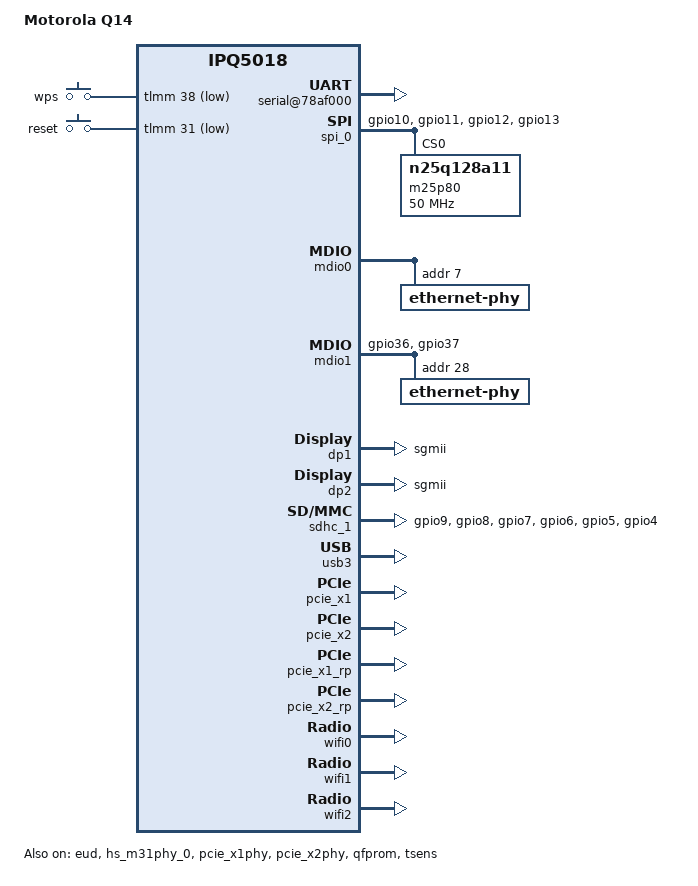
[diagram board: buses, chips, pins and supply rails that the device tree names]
/dts-v1/;
/* Copyright (c) 2018-2020, The Linux Foundation. All rights reserved.
 *
 * Permission to use, copy, modify, and/or distribute this software for any
 * purpose with or without fee is hereby granted, provided that the above
 * copyright notice and this permission notice appear in all copies.
 *
 * THE SOFTWARE IS PROVIDED "AS IS" AND THE AUTHOR DISCLAIMS ALL WARRANTIES
 * WITH REGARD TO THIS SOFTWARE INCLUDING ALL IMPLIED WARRANTIES OF
 * MERCHANTABILITY AND FITNESS. IN NO EVENT SHALL THE AUTHOR BE LIABLE FOR
 * ANY SPECIAL, DIRECT, INDIRECT, OR CONSEQUENTIAL DAMAGES OR ANY DAMAGES
 * WHATSOEVER RESULTING FROM LOSS OF USE, DATA OR PROFITS, WHETHER IN AN
 * ACTION OF CONTRACT, NEGLIGENCE OR OTHER TORTIOUS ACTION, ARISING OUT OF
 * OR IN CONNECTION WITH THE USE OR PERFORMANCE OF THIS SOFTWARE.
 */

#include "qcom-ipq5018.dtsi"

/ {
	#address-cells = <0x2>;
	#size-cells = <0x2>;
	model = "Motorola Q14";
	compatible = "motorola,q14", "qcom,ipq5018-mp03.5-c1", "qcom,ipq5018";
	interrupt-parent = <&intc>;

	aliases {
		sdhc1 = &sdhc_1; /* SDC1 eMMC slot */
		serial0 = &blsp1_uart1;
		serial1 = &blsp1_uart2;
		ethernet0 = "/soc/dp1";
		ethernet1 = "/soc/dp2";
	};

	chosen {
		bootargs = "console=ttyMSM0,115200,n8 rw init=/init";
	#ifdef __IPQ_MEM_PROFILE_256_MB__
		bootargs-append = " swiotlb=1";
	#else
		bootargs-append = " swiotlb=1 coherent_pool=2M";
	#endif
		stdout-path = "serial0";
	};

	reserved-memory {
	#ifdef __IPQ_MEM_PROFILE_256_MB__
	/*                   256 MB Profile
	 * +==========+==============+=========================+
	 * |          |              |                         |
	 * |  Region  | Start Offset |          Size           |
	 * |          |              |                         |
	 * +----------+--------------+-------------------------+
	 * |    NSS   |  0x40000000  |           8MB           |
	 * +----------+--------------+-------------------------+
	 * |   Linux  |  0x40800000  | Depends on total memory |
	 * +----------+--------------+-------------------------+
	 * |   uboot  |  0x4A600000  |           4MB           |
	 * +----------+--------------+-------------------------+
	 * |    SBL   |  0x4AA00000  |           1MB           |
	 * +----------+--------------+-------------------------+
	 * |   smem   |  0x4AB00000  |           1MB           |
	 * +----------+--------------+-------------------------+
	 * |    TZ    |  0x4AC00000  |           4MB           |
	 * +----------+--------------+-------------------------+
	 * |    Q6    |              |                         |
	 * |   code/  |  0x4B000000  |          20MB           |
	 * |   data   |              |                         |
	 * +----------+--------------+-------------------------+
	 * |  IPQ5018 |              |                         |
	 * |   data   |  0x4C400000  |          13MB           |
	 * +----------+--------------+-------------------------+
	 * |  IPQ5018 |              |                         |
	 * |  M3 Dump |  0x4D100000  |           1MB           |
	 * +----------+--------------+-------------------------+
	 * |  IPQ5018 |              |                         |
	 * |   QDSS   |  0x4D200000  |           1MB           |
	 * +----------+--------------+-------------------------+
	 * | QCN6122_1|              |                         |
	 * |   data   |  0x4D300000  |          15MB           |
	 * +----------+--------------+-------------------------+
	 * | QCN6122_1|              |                         |
	 * |  M3 Dump |  0x4E200000  |           1MB           |
	 * +----------+--------------+-------------------------+
	 * | QCN6122_1|              |                         |
	 * |   QDSS   |  0x4E300000  |           1MB           |
	 * +----------+--------------+-------------------------+
	 * | QCN6122_2|              |                         |
	 * |   data   |  0x4E400000  |          15MB           |
	 * +----------+--------------+-------------------------+
	 * | QCN6122_2|              |                         |
	 * |  M3 Dump |  0x4F300000  |           1MB           |
	 * +----------+--------------+-------------------------+
	 * | QCN6122_2|              |                         |
	 * |   QDSS   |  0x4F400000  |           1MB           |
	 * +----------+--------------+-------------------------+
	 * |                                                   |
	 * |            Rest of the memory for Linux           |
	 * |                                                   |
	 * +===================================================+
	 */
		q6_mem_regions: q6_mem_regions@4B000000 {
			no-map;
			reg = <0x0 0x4B000000 0x0 0x4500000>;
		};

		q6_code_data: q6_code_data@4B000000 {
			no-map;
			reg = <0x0 0x4B000000 0x0 0x1400000>;
		};

		q6_ipq5018_data: q6_ipq5018_data@4C400000 {
			no-map;
			reg = <0x0 0x4C400000 0x0 0xD00000>;
		};

		m3_dump: m3_dump@4D100000 {
			no-map;
			reg = <0x0 0x4D100000 0x0 0x100000>;
		};

		q6_etr_region: q6_etr_dump@4D200000 {
			no-map;
			reg = <0x0 0x4D200000 0x0 0x100000>;
		};

		q6_qcn6122_data1: q6_qcn6122_data1@4D300000 {
			no-map;
			reg = <0x0 0x4D300000 0x0 0xF00000>;
		};

		m3_dump_qcn6122_1: m3_dump_qcn6122_1@4E200000 {
			no-map;
			reg = <0x0 0x4E200000 0x0 0x100000>;
		};

		q6_qcn6122_etr_1: q6_qcn6122_etr_1@4E300000 {
			no-map;
			reg = <0x0 0x4E300000 0x0 0x100000>;
		};

		q6_qcn6122_data2: q6_qcn6122_data2@4E400000 {
			no-map;
			reg = <0x0 0x4E400000 0x0 0xF00000>;
		};

		m3_dump_qcn6122_2: m3_dump_qcn6122_2@4F300000 {
			no-map;
			reg = <0x0 0x4F300000 0x0 0x100000>;
		};

		q6_qcn6122_etr_2: q6_qcn6122_etr_2@4F400000 {
			no-map;
			reg = <0x0 0x4F400000 0x0 0x100000>;
		};
	#else
	/*                 512MB/1GB Profiles
	 * +==========+==============+=========================+
	 * |          |              |                         |
	 * |  Region  | Start Offset |          Size           |
	 * |          |              |                         |
	 * +----------+--------------+-------------------------+
	 * |    NSS   |  0x40000000  |          16MB           |
	 * +----------+--------------+-------------------------+
	 * |   Linux  |  0x41000000  | Depends on total memory |
	 * +----------+--------------+-------------------------+
	 * |   uboot  |  0x4A600000  |           4MB           |
	 * +----------+--------------+-------------------------+
	 * |    SBL   |  0x4AA00000  |           1MB           |
	 * +----------+--------------+-------------------------+
	 * |   smem   |  0x4AB00000  |           1MB           |
	 * +----------+--------------+-------------------------+
	 * |    TZ    |  0x4AC00000  |           4MB           |
	 * +----------+--------------+-------------------------+
	 * |    Q6    |              |                         |
	 * |   code/  |  0x4B000000  |          20MB           |
	 * |   data   |              |                         |
	 * +----------+--------------+-------------------------+
	 * |  IPQ5018 |              |                         |
	 * |   data   |  0x4C400000  |          14MB           |
	 * +----------+--------------+-------------------------+
	 * |  IPQ5018 |              |                         |
	 * |  M3 Dump |  0x4D200000  |           1MB           |
	 * +----------+--------------+-------------------------+
	 * |  IPQ5018 |              |                         |
	 * |   QDSS   |  0x4D300000  |           1MB           |
	 * +----------+--------------+-------------------------+
	 * |  IPQ5018 |              |                         |
	 * |  Caldb   |  0x4D400000  |           2MB           |
	 * +----------+--------------+-------------------------+
	 * | QCN6122_1|              |                         |
	 * |   data   |  0x4D600000  |          16MB           |
	 * +----------+--------------+-------------------------+
	 * | QCN6122_1|              |                         |
	 * |  M3 Dump |  0x4E600000  |           1MB           |
	 * +----------+--------------+-------------------------+
	 * | QCN6122_1|              |                         |
	 * |   QDSS   |  0x4E700000  |           1MB           |
	 * +----------+--------------+-------------------------+
	 * | QCN6122_1|              |                         |
	 * |  Caldb   |  0x4E800000  |           5MB           |
	 * +----------+--------------+-------------------------+
	 * | QCN6122_2|              |                         |
	 * |   data   |  0x4ED00000  |          16MB           |
	 * +----------+--------------+-------------------------+
	 * | QCN6122_2|              |                         |
	 * |  M3 Dump |  0x4FD00000  |           1MB           |
	 * +----------+--------------+-------------------------+
	 * | QCN6122_2|              |                         |
	 * |   QDSS   |  0x4FE00000  |           1MB           |
	 * +----------+--------------+-------------------------+
	 * | QCN6122_2|              |                         |
	 * |  Caldb   |  0x4FF00000  |           5MB           |
	 * +----------+--------------+-------------------------+
	 * |                                                   |
	 * |            Rest of the memory for Linux           |
	 * |                                                   |
	 * +===================================================+
	 */
		q6_mem_regions: q6_mem_regions@4B000000 {
			no-map;
			reg = <0x0 0x4B000000 0x0 0x5400000>;
		};

		q6_code_data: q6_code_data@4B000000 {
			no-map;
			reg = <0x0 0x4B000000 0x0 01400000>;
		};

		q6_ipq5018_data: q6_ipq5018_data@4C400000 {
			no-map;
			reg = <0x0 0x4C400000 0x0 0xE00000>;
		};

		m3_dump: m3_dump@4D200000 {
			no-map;
			reg = <0x0 0x4D200000 0x0 0x100000>;
		};

		q6_etr_region: q6_etr_dump@4D300000 {
			no-map;
			reg = <0x0 0x4D300000 0x0 0x100000>;
		};

		q6_caldb_region: q6_caldb_region@4D400000 {
			no-map;
			reg = <0x0 0x4D400000 0x0 0x200000>;
		};

		q6_qcn6122_data1: q6_qcn6122_data1@4D600000 {
			no-map;
			reg = <0x0 0x4D600000 0x0 0x1000000>;
		};

		m3_dump_qcn6122_1: m3_dump_qcn6122_1@4E600000 {
			no-map;
			reg = <0x0 0x4E600000 0x0 0x100000>;
		};

		q6_qcn6122_etr_1: q6_qcn6122_etr_1@4E700000 {
			no-map;
			reg = <0x0 0x4E700000 0x0 0x100000>;
		};

		q6_qcn6122_caldb_1: q6_qcn6122_caldb_1@4E800000 {
			no-map;
			reg = <0x0 0x4E800000 0x0 0x500000>;
		};

		q6_qcn6122_data2: q6_qcn6122_data2@4E900000 {
			no-map;
			reg = <0x0 0x4ED00000 0x0 0x1000000>;
		};

		m3_dump_qcn6122_2: m3_dump_qcn6122_2@4FD00000 {
			no-map;
			reg = <0x0 0x4FD00000 0x0 0x100000>;
		};

		q6_qcn6122_etr_2: q6_qcn6122_etr_2@4FE00000 {
			no-map;
			reg = <0x0 0x4FE00000 0x0 0x100000>;
		};

		q6_qcn6122_caldb_2: q6_qcn6122_caldb_2@4FF00000 {
			no-map;
			reg = <0x0 0x4FF00000 0x0 0x500000>;
		};

	#endif
	};

	soc {
		serial@78af000 {
			status = "ok";
		};

		blsp1_uart2: serial@78b0000 {
			pinctrl-0 = <&blsp1_uart_pins>;
			pinctrl-names = "default";
		};

		qpic_bam: dma@7984000{
			status = "ok";
		};

		nand: qpic-nand@79b0000 {
			status = "disabled";
		};

		spi_0: spi@78b5000 { /* BLSP1 QUP0 */
			pinctrl-0 = <&blsp0_spi_pins>;
			pinctrl-names = "default";
			cs-select = <0>;
			status = "ok";

			m25p80@0 {
				#address-cells = <1>;
				#size-cells = <1>;
				reg = <0>;
				compatible = "n25q128a11";
				linux,modalias = "m25p80", "n25q128a11";
				spi-max-frequency = <50000000>;
				use-default-sizes;
			};
		};

		mdio0: mdio@88000 {
			status = "ok";

			ethernet-phy@0 {
				reg = <7>;
			};
		};

		mdio1: mdio@90000 {
			status = "ok";
			pinctrl-0 = <&mdio1_pins>;
			pinctrl-names = "default";
			phy-reset-gpio = <&tlmm 39 0>;

			ethernet-phy@0 {
				reg = <28>;
			};
		};

		ess-instance {
			num_devices = <0x1>;
			ess-switch@0x39c00000 {
				switch_mac_mode = <0xf>; /* mac mode for uniphy instance*/
				cmnblk_clk = "internal_96MHz"; /* cmnblk clk*/
				qcom,port_phyinfo {
					port@0 {
						port_id = <1>;
						phy_address = <7>;
						mdiobus = <&mdio0>;
					};
					port@1 {
						port_id = <2>;
						phy_address = <0x1c>;
						mdiobus = <&mdio1>;
						port_mac_sel = "QGMAC_PORT";
					};
				};
				led_source@0 {
					source = <0>;
					mode = "normal";
					speed = "all";
					blink_en = "enable";
					active = "high";
				};
			};
		};

		dp1 {
			device_type = "network";
			compatible = "qcom,nss-dp";
			clocks = <&gcc GCC_SNOC_GMAC0_AXI_CLK>;
			clock-names = "nss-snoc-gmac-axi-clk";
			qcom,id = <1>;
			reg = <0x39C00000 0x10000>;
			interrupts = <GIC_SPI 101 IRQ_TYPE_LEVEL_HIGH>;
			qcom,mactype = <2>;
			qcom,link-poll = <1>;
			qcom,phy-mdio-addr = <7>;
			mdio-bus = <&mdio0>;
			local-mac-address = [000000000000];
			phy-mode = "sgmii";
		};

		dp2 {
			device_type = "network";
			compatible = "qcom,nss-dp";
			clocks = <&gcc GCC_SNOC_GMAC1_AXI_CLK>;
			clock-names = "nss-snoc-gmac-axi-clk";
			qcom,id = <2>;
			reg = <0x39D00000 0x10000>;
			interrupts = <GIC_SPI 109 IRQ_TYPE_LEVEL_HIGH>;
			qcom,mactype = <2>;
			qcom,link-poll = <1>;
			qcom,phy-mdio-addr = <28>;
			mdio-bus = <&mdio1>;
			local-mac-address = [000000000000];
			phy-mode = "sgmii";
		};

		qcom,test@0 {
			status = "ok";
		};

		nss-macsec1 {
			compatible = "qcom,nss-macsec";
			phy_addr = <0x1c>;
			mdiobus = <&mdio1>;
		};

		lpass: lpass@0xA000000{
			status = "disabled";
		};

		pcm: pcm@0xA3C0000{
			pinctrl-0 = <&audio_pins>;
			pinctrl-names = "default";
			status = "disabled";
		};

		pcm_lb: pcm_lb@0 {
			status = "disabled";
		};
	};

	thermal-zones {
		status = "ok";
	};
};

&sdhc_1 {
	pinctrl-0 = <&emmc_pins>;
	pinctrl-names = "default";
	qcom,clk-rates = <400000 25000000 50000000 100000000 \
			 192000000 384000000>;
	qcom,bus-speed-mode = "HS200_1p8v", "DDR_1p8v";
	qcom,nonremovable;
	status = "ok";
};

&tlmm {
	pinctrl-0 = <&blsp0_uart_pins &phy_led_pins>;
	pinctrl-names = "default";

	blsp0_uart_pins: uart_pins {
		blsp0_uart_rx_tx {
			pins = "gpio20", "gpio21";
			function = "blsp0_uart0";
			bias-disable;
		};
	};

	blsp1_uart_pins: blsp1_uart_pins {
		blsp1_uart_rx_tx {
			pins = "gpio23", "gpio25", "gpio24", "gpio26";
			function = "blsp1_uart2";
			bias-disable;
		};
	};

	blsp0_spi_pins: blsp0_spi_pins {
		mux {
			pins = "gpio10", "gpio11", "gpio12", "gpio13";
			function = "blsp0_spi";
			drive-strength = <2>;
			bias-disable;
		};
	};

	emmc_pins: emmc_pins {
		emmc_clk {
				pins = "gpio9";
				function = "sdc1_clk";
				drive-strength = <8>;
				bias-disable;
			};
		emmc_cmd {
				pins = "gpio8";
				function = "sdc1_cmd";
				drive-strength = <8>;
				bias-pull-up;
			};
		emmc_data_0 {
				pins = "gpio7";
				function = "sdc10";
				drive-strength = <8>;
				bias-disable;
			};
		emmc_data_1 {
				pins = "gpio6";
				function = "sdc11";
				drive-strength = <8>;
				bias-disable;
			};
		emmc_data_2 {
				pins = "gpio5";
				function = "sdc12";
				drive-strength = <8>;
				bias-disable;
			};
		emmc_data_3 {
				pins = "gpio4";
				function = "sdc13";
				drive-strength = <8>;
				bias-disable;
			};
	};

	mdio1_pins: mdio_pinmux {
		mux_0 {
			pins = "gpio36";
			function = "mdc";
			drive-strength = <8>;
			bias-pull-up;
		};

		mux_1 {
			pins = "gpio37";
			function = "mdio";
			drive-strength = <8>;
			bias-pull-up;
		};
	};

	phy_led_pins: phy_led_pins {
		gephy_led_pin {
			pins = "gpio46";
			function = "led0";
			drive-strength = <8>;
			bias-pull-down;
		};
	};

	i2c_pins: i2c_pins {
		i2c_scl {
			pins = "gpio25";
			function = "blsp2_i2c1";
			drive-strength = <8>;
			bias-disable;
		};

		i2c_sda {
			pins = "gpio26";
			function = "blsp2_i2c1";
			drive-strength = <8>;
			bias-disable;
		};
	};

	button_pins: button_pins {
		wps_button {
			pins = "gpio38";
			function = "gpio";
			drive-strength = <8>;
			bias-pull-up;
		};
		
		reset_button {
			pins = "gpio31";
			function = "gpio";
			drive-strength = <8>;
			bias-pull-up;
		};		
		
	};

	audio_pins: audio_pinmux {
		mux_1 {
			pins = "gpio24";
			function = "audio_rxbclk";
			drive-strength = <8>;
			bias-pull-down;
		};

		mux_2 {
			pins = "gpio25";
			function = "audio_rxfsync";
			drive-strength = <8>;
			bias-pull-down;
		};

		mux_3 {
			pins = "gpio26";
			function = "audio_rxd";
			drive-strength = <8>;
			bias-pull-down;
		};

		mux_4 {
			pins = "gpio27";
			function = "audio_txmclk";
			drive-strength = <8>;
			bias-pull-down;
		};

		mux_5 {
			pins = "gpio28";
			function = "audio_txbclk";
			drive-strength = <8>;
			bias-pull-down;
		};

		mux_6 {
			pins = "gpio29";
			function = "audio_txfsync";
			drive-strength = <8>;
			bias-pull-down;
		};

		mux_7 {
			pins = "gpio30";
			function = "audio_txd";
			drive-strength = <8>;
			bias-pull-down;
		};
	};

};

&soc {
	gpio_keys {
		compatible = "gpio-keys";
		pinctrl-0 = <&button_pins>;
		pinctrl-names = "default";

		button@1 {
			label = "wps";
			linux,code = <KEY_WPS_BUTTON>;
			gpios = <&tlmm 38 GPIO_ACTIVE_LOW>;
			linux,input-type = <1>;
			debounce-interval = <60>;
		};
		
		button@2 {
			label = "reset";
			linux,code = <KEY_RESTART>;
			gpios = <&tlmm 31 GPIO_ACTIVE_LOW>;
			linux,input-type = <1>;
			debounce-interval = <60>;
		};			
		
	};
};

&usb3 {
	status = "ok";
	device-power-gpio = <&tlmm 24 1>;
};

&eud {
	status = "ok";
};

&pcie_x1 {
	status = "ok";
	perst-gpio = <&tlmm 18 1>;
};

&pcie_x2 {
	status = "ok";
	perst-gpio = <&tlmm 15 1>;
};

&dwc_0 {
	/delete-property/ #phy-cells;
	/delete-property/ phys;
	/delete-property/ phy-names;
};

&hs_m31phy_0 {
	status = "ok";
};

&pcie_x1phy {
	status = "ok";
};

&pcie_x2phy {
	status = "ok";
};

&pcie_x1_rp {
        status = "ok";

	mhi_0: qcom,mhi@0 {
		reg = <0 0 0 0 0 >;
	};
};

&pcie_x2_rp {
        status = "ok";

	mhi_1: qcom,mhi@1 {
		reg = <0 0 0 0 0 >;

	};
};

&qfprom {
	status = "ok";
};

&tsens {
	status = "ok";
};

&qcom_q6v5_wcss {
	qcom,multipd_arch;
	memory-region = <&q6_mem_regions>;
	qcom,share_bootargs;
	qcom,bootargs_smem = <507>;
boot-args = <0x1 0x4 0x3 0x0F 0x0 0x0>,
			<0x2 0x4 0x2 0x12 0x0 0x0>;	
			
	/* IPQ5018 */
	q6v5_wcss_userpd1 {
		m3_firmware = "IPQ5018/m3_fw.mdt";
		interrupts-extended = <&wcss_smp2p_in 8 0>,
			<&wcss_smp2p_in 9 0>,
			<&wcss_smp2p_in 12 0>,
			<&wcss_smp2p_in 11 0>;
		interrupt-names ="fatal",
			"ready",
			"spawn_ack",
			"stop-ack";
		qcom,smem-states = <&wcss_smp2p_out 8>,
			<&wcss_smp2p_out 9>,
			<&wcss_smp2p_out 10>;
		qcom,smem-state-names = "shutdown",
			"stop",
			"spawn";
		qca,asid = <1>;
		qca,auto-restart;
		qca,int_radio;
		#ifdef __IPQ_MEM_PROFILE_256_MB__
		memory-region = <&q6_ipq5018_data>, <&m3_dump>,
				<&q6_etr_region>;
		#else
		memory-region = <&q6_ipq5018_data>, <&m3_dump>,
				<&q6_etr_region>, <&q6_caldb_region>;
		#endif
	};

	/* QCN6122 6G */
	q6v5_wcss_userpd2 {
		m3_firmware = "qcn6122/m3_fw.mdt";
		interrupts-extended = <&wcss_smp2p_in 16 0>,
			<&wcss_smp2p_in 17 0>,
			<&wcss_smp2p_in 20 0>,
			<&wcss_smp2p_in 19 0>;
		interrupt-names ="fatal",
			"ready",
			"spawn_ack",
			"stop-ack";
		qcom,smem-states = <&wcss_smp2p_out 16>,
			<&wcss_smp2p_out 17>,
			<&wcss_smp2p_out 18>;
		qcom,smem-state-names = "shutdown",
			"stop",
			"spawn";
		qca,asid = <2>;
		qca,auto-restart;
		#ifdef __IPQ_MEM_PROFILE_256_MB__
		memory-region = <&q6_qcn6122_data1>, <&m3_dump_qcn6122_1>,
				<&q6_qcn6122_etr_1>;
		#else
		memory-region = <&q6_qcn6122_data1>, <&m3_dump_qcn6122_1>,
				<&q6_qcn6122_etr_1>, <&q6_qcn6122_caldb_1>;
		#endif
	};

	/* QCN6122 5G */
	q6v5_wcss_userpd3 {
		m3_firmware = "qcn6122/m3_fw.mdt";
		interrupts-extended = <&wcss_smp2p_in 24 0>,
			<&wcss_smp2p_in 25 0>,
			<&wcss_smp2p_in 28 0>,
			<&wcss_smp2p_in 27 0>;
		interrupt-names ="fatal",
			"ready",
			"spawn_ack",
			"stop-ack";
		qcom,smem-states = <&wcss_smp2p_out 24>,
			<&wcss_smp2p_out 25>,
			<&wcss_smp2p_out 26>;
		qcom,smem-state-names = "shutdown",
			"stop",
			"spawn";
		qca,asid = <3>;
		qca,auto-restart;
		#ifdef __IPQ_MEM_PROFILE_256_MB__
		memory-region = <&q6_qcn6122_data2>, <&m3_dump_qcn6122_2>,
				<&q6_qcn6122_etr_2>;
		#else
		memory-region = <&q6_qcn6122_data2>, <&m3_dump_qcn6122_2>,
				<&q6_qcn6122_etr_2>, <&q6_qcn6122_caldb_2>;
		#endif
	};
};

&i2c_0 {
	pinctrl-0 = <&i2c_pins>;
	pinctrl-names = "default";
	status = "disabled";
};

&qgic_msi_0 {
	status = "ok";
};

&qgic_msi_1 {
	status = "ok";
};

&wifi0 {
	/* IPQ5018 */
	qcom,multipd_arch;
	qcom,userpd-subsys-name = "q6v5_wcss_userpd1";
#ifdef __IPQ_MEM_PROFILE_256_MB__
	qcom,tgt-mem-mode = <2>;
#else
	qcom,tgt-mem-mode = <1>;
#endif
	qcom,board_id = <0x24>;
	qcom,bdf-addr = <0x4C400000 0x4C400000 0x4C400000 0x0 0x0>;
#ifdef __CNSS2__
	qcom,caldb-addr = <0x4D400000 0x4D400000 0 0 0>;
#else
	qcom,caldb-addr = <0x4D400000>;
	m3-dump-addr = <0x4D200000>;
	nss-radio-priority = <0>;
#endif
	mem-region = <&q6_ipq5018_data>;
	qcom,caldb-size = <0x200000>;
	status = "ok";
};

&wifi1 {
	/* QCN6122 5G */
	qcom,multipd_arch;
	qcom,userpd-subsys-name = "q6v5_wcss_userpd2";
#ifdef __IPQ_MEM_PROFILE_256_MB__
	qcom,tgt-mem-mode = <2>;
#else
	qcom,tgt-mem-mode = <1>;
#endif
	qcom,board_id = <0x60>;
	qcom,bdf-addr = <0x4D600000 0x4D600000 0x4D300000 0x0 0x0>;
#ifdef __CNSS2__
	qcom,caldb-addr = <0x4E800000 0x4E800000 0 0 0>;
#else
	qcom,caldb-addr = <0x4E800000>;
	m3-dump-addr = <0x4E600000>;
	nss-radio-priority = <1>;
#endif
	mem-region = <&q6_qcn6122_data1>;
	qcom,caldb-size = <0x500000>;
	status = "ok";
};

&wifi2 {
	/* QCN6122 6G */
	qcom,multipd_arch;
	qcom,userpd-subsys-name = "q6v5_wcss_userpd3";
#ifdef __IPQ_MEM_PROFILE_256_MB__
	qcom,tgt-mem-mode = <2>;
#else
	qcom,tgt-mem-mode = <1>;
#endif
	qcom,board_id = <0xb0>;
	qcom,bdf-addr = <0x4ED00000 0x4ED00000 0x4E400000 0x0 0x0>;
#ifdef __CNSS2__
	qcom,caldb-addr = <0x4FF00000 0x4FF00000 0 0 0>;
#else
	qcom,caldb-addr = <0x4FF00000>;
	m3-dump-addr = <0x4FD00000>;
	nss-radio-priority = <1>;
#endif
	mem-region = <&q6_qcn6122_data2>;
	qcom,caldb-size = <0x500000>;
	status = "ok";
};
